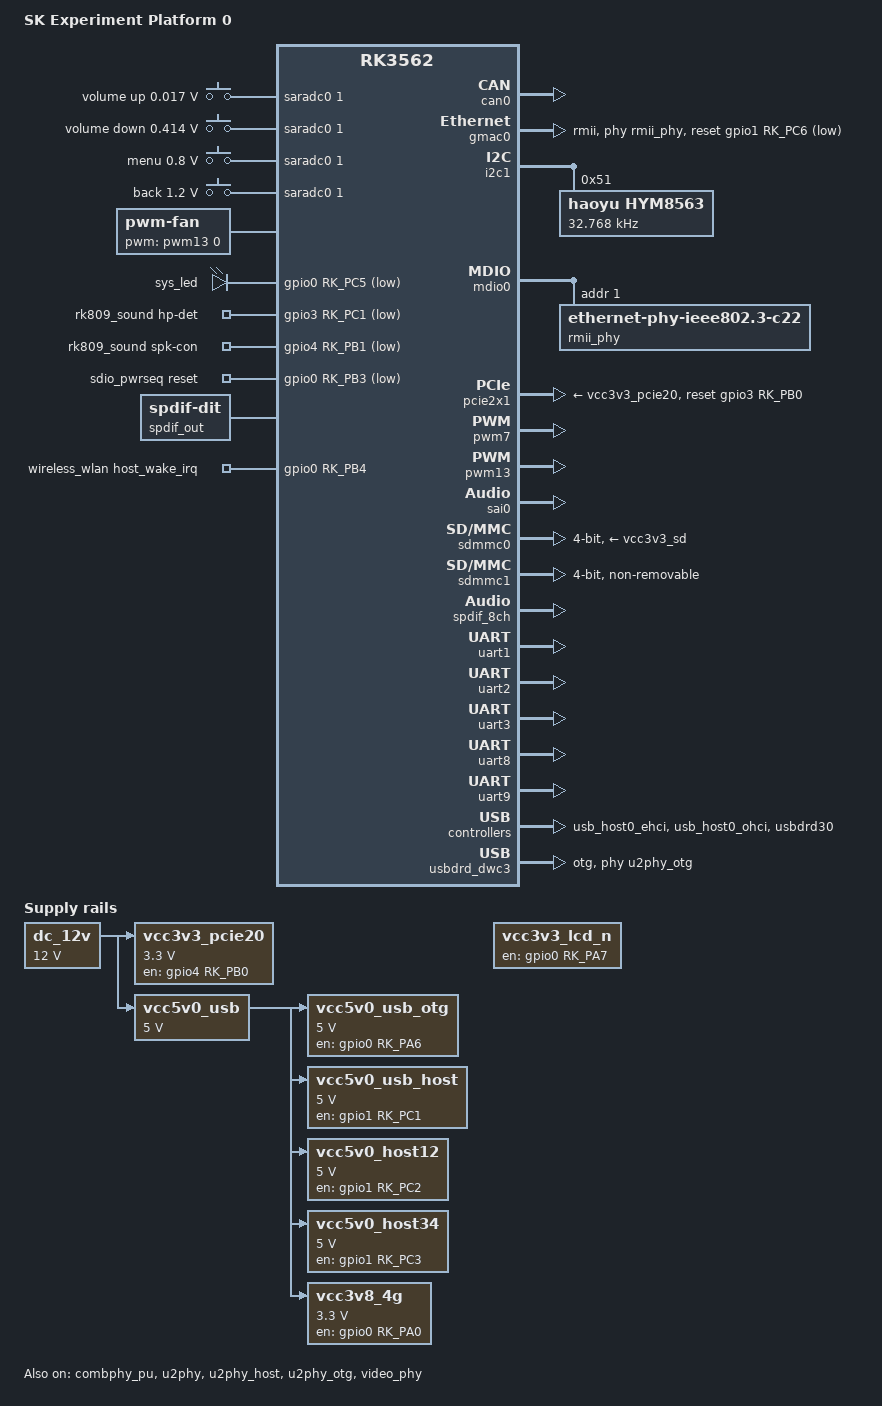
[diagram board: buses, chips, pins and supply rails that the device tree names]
// SPDX-License-Identifier: (GPL-2.0+ OR MIT)
/*
* Copyright (c) 2025 Sergey Kharenko
* Copyright (c) 2021 Rockchip Electronics Co., Ltd.
*/

/dts-v1/;

#include "rk3562.dtsi"
#include "rk3562-linux.dtsi"
#include "rk3562-rk809.dtsi"

/ {
	model = "SK Experiment Platform 0";
	compatible = "sk,epf0", "rockchip,rk3562";

	adc_keys: adc-keys {
		compatible = "adc-keys";
		io-channels = <&saradc0 1>;
		io-channel-names = "buttons";
		keyup-threshold-microvolt = <1800000>;
		poll-interval = <100>;

		vol-up-key {
			linux,code = <KEY_VOLUMEUP>;
			label = "volume up";
			press-threshold-microvolt = <17000>;
		};

		vol-down-key {
			linux,code = <KEY_VOLUMEDOWN>;
			label = "volume down";
			press-threshold-microvolt = <414000>;
		};

		menu-key {
			linux,code = <KEY_MENU>;
			label = "menu";
			press-threshold-microvolt = <800000>;
		};

		back-key {
			linux,code = <KEY_BACK>;
			label = "back";
			press-threshold-microvolt = <1200000>;
		};
	};

	dc_12v: dc-12v {
		compatible = "regulator-fixed";
		regulator-name = "dc_12v";
		regulator-always-on;
		regulator-boot-on;
		regulator-min-microvolt = <12000000>;
		regulator-max-microvolt = <12000000>;
	};

	fan: pwm-fan {
  		compatible = "pwm-fan";
  		#cooling-cells = <2>;
  		pwms = <&pwm13 0 50000 0>;
  		cooling-levels = <0 50 100 150 200 255>;
  		rockchip,temp-trips = < 50000 1
                                55000 2
                                60000 3
                                65000 4
                                70000 5>;
    };

 	gpio_leds: gpio-leds {
		compatible = "gpio-leds";
  	  	sys_led: sys-led {
   	   		gpios = <&gpio0 RK_PC5 GPIO_ACTIVE_LOW>;
			linux,default-trigger = "heartbeat";
       		pinctrl-names = "default";
       		pinctrl-0 = <&sys_led_pin>;
  		};
	};

	rk809_sound: rk809-sound {
		compatible = "rockchip,multicodecs-card";
		rockchip,card-name = "rockchip-rk809";
		hp-det-gpio = <&gpio3 RK_PC1 GPIO_ACTIVE_LOW>;
		spk-con-gpio = <&gpio4 RK_PB1 GPIO_ACTIVE_LOW>;
		rockchip,format = "i2s";
		rockchip,mclk-fs = <256>;
		rockchip,cpu = <&sai0>;
		rockchip,codec = <&rk809_codec>;
		pinctrl-names = "default";
		pinctrl-0 = <&hp_det &spk_con>;
	};

	sdio_pwrseq: sdio-pwrseq {
		compatible = "mmc-pwrseq-simple";
		pinctrl-names = "default";
		pinctrl-0 = <&wifi_poweren_gpio>;
        reset-gpios = <&gpio0 RK_PB3 GPIO_ACTIVE_LOW>;
		post-power-on-delay-ms = <200>;
	};

	spdif_out: spdif-out {
		compatible = "linux,spdif-dit";
		#sound-dai-cells = <0>;
	};

	spdif_sound: spdif-sound {
		compatible = "simple-audio-card";
		simple-audio-card,name = "rk-spdif-sound";
		simple-audio-card,mclk-fs = <128>;
		simple-audio-card,cpu {
			sound-dai = <&spdif_8ch>;
		};
		simple-audio-card,codec {
			sound-dai = <&spdif_out>;
		};
	};

	vcc3v3_pcie20: vcc3v3-pcie20 {
		compatible = "regulator-fixed";
		regulator-name = "vcc3v3_pcie20";
		regulator-min-microvolt = <3300000>;
		regulator-max-microvolt = <3300000>;
		enable-active-high;
		regulator-always-on;
        regulator-boot-on;
		gpios = <&gpio4 RK_PB0 GPIO_ACTIVE_HIGH>;
		startup-delay-us = <5000>;
		vin-supply = <&dc_12v>;
	};

	vcc5v0_usb: vcc5v0-usb {
		compatible = "regulator-fixed";
		regulator-name = "vcc5v0_usb";
		regulator-always-on;
		regulator-boot-on;
		regulator-min-microvolt = <5000000>;
		regulator-max-microvolt = <5000000>;
		vin-supply = <&dc_12v>;
	};

	vcc5v0_usb_otg: vcc5v0-usb-otg {         
        compatible = "regulator-fixed";
        regulator-name = "vcc5v0_usb_otg";
        regulator-min-microvolt = <5000000>;
        regulator-max-microvolt = <5000000>;
        enable-active-high;
        gpio = <&gpio0 RK_PA6 GPIO_ACTIVE_HIGH>;
        vin-supply = <&vcc5v0_usb>;
        pinctrl-names = "default";
        pinctrl-0 = <&usb_otg_pwren>;
    };  

    vcc5v0_usb_host: vcc5v0-usb-host {    
        compatible = "regulator-fixed";
        regulator-name = "vcc5v0_usb_host";
        regulator-boot-on;
        regulator-always-on;
        regulator-min-microvolt = <5000000>;
        regulator-max-microvolt = <5000000>;
        enable-active-high;
        gpio = <&gpio1 RK_PC1 GPIO_ACTIVE_HIGH>;
        vin-supply = <&vcc5v0_usb>;
        pinctrl-names = "default";
        pinctrl-0 = <&usb_host5_pwren>;
    };  
       
    vcc5v0_host12: vcc5v0-host12 {
        compatible = "regulator-fixed";
        regulator-name = "vcc5v0_host12";
        regulator-boot-on;
        regulator-always-on;
        regulator-min-microvolt = <5000000>;
        regulator-max-microvolt = <5000000>;
        enable-active-high;
        gpio = <&gpio1 RK_PC2 GPIO_ACTIVE_HIGH>;
        vin-supply = <&vcc5v0_usb>;
        pinctrl-names = "default";
        pinctrl-0 = <&usb_host12_pwren>;
    };  

    vcc5v0_host34: vcc5v0-host34 {
        compatible = "regulator-fixed";
        regulator-name = "vcc5v0_host34";
        regulator-boot-on;
        regulator-always-on;
        regulator-min-microvolt = <5000000>;
        regulator-max-microvolt = <5000000>;
        enable-active-high;
        gpio = <&gpio1 RK_PC3 GPIO_ACTIVE_HIGH>;
        vin-supply = <&vcc5v0_usb>;
        pinctrl-names = "default";
        pinctrl-0 = <&usb_host34_pwren>;
    };

    vcc3v8_4g: vcc3v8-4g {
        compatible = "regulator-fixed";
        regulator-name = "vcc3v8_4g";
        regulator-boot-on;
        regulator-always-on;
        regulator-min-microvolt = <3300000>;
        regulator-max-microvolt = <3300000>;
        enable-active-high;
        gpio = <&gpio0 RK_PA0 GPIO_ACTIVE_HIGH>;
        vin-supply = <&vcc5v0_usb>;
        pinctrl-names = "default";
        pinctrl-0 = <&usb_4g_pwren>;
    };

	vcc3v3_lcd_n: vcc3v3-lcd-n {
		compatible = "regulator-fixed";
		regulator-name = "vcc3v3_lcd_n";
		regulator-boot-on;
        enable-active-high;
		pinctrl-names = "default";
		pinctrl-0 = <&lcd_pwren>;
        gpio = <&gpio0 RK_PA7 GPIO_ACTIVE_HIGH>;
		regulator-state-mem {
			regulator-off-in-suspend;
		};
	};

	wireless_wlan: wireless-wlan {
		compatible = "wlan-platdata";
		rockchip,grf = <&sys_grf>;
		clocks = <&rk809 1>;
		clock-names = "clk_wifi";
		wifi_chip_type = "rtl8723du";
		pinctrl-names = "default";
		pinctrl-0 = <&wifi_host_wake_irq>;
		WIFI,host_wake_irq = <&gpio0 RK_PB4 GPIO_ACTIVE_HIGH>;
	};
};

&can0 {
    assigned-clocks = <&cru CLK_CAN0>;
    assigned-clock-rates = <200000000>;
    pinctrl-names = "default";
    pinctrl-0 = <&can0m2_pins>;
    status = "okay";
};

&combphy_pu {
	status = "okay";
};

&gmac0 {
	/* Use rgmii-rxid mode to disable rx delay inside Soc */
	phy-mode = "rmii";
	clock_in_out = "output";

	snps,reset-gpio = <&gpio1 RK_PC6 GPIO_ACTIVE_LOW>;
	snps,reset-active-low;
	/* Reset time is 20ms, 100ms for rtl8211f */
	snps,reset-delays-us = <0 20000 100000>;

	tx_delay = <0x42>;
	/* rx_delay = <0x3f>; */

	pinctrl-names = "default";
    pinctrl-0 = <
        &rgmiim1_miim
        &rgmiim1_tx_bus2
        &rgmiim1_rx_bus2
        &rgmiim1_clk
        &rgmiim1_rx_er
        &ethm1_pins>;
	phy-handle = <&rmii_phy>;
	status = "okay";
};

&i2c1 {
 	status = "okay";

 	hym8563: hym8563@51 {
  		compatible = "haoyu,hym8563";
  		reg = <0x51>;
  		#clock-cells = <0>;
  		clock-frequency = <32768>;
  		clock-output-names = "hym8563";
  		wakeup-source;
 	};
};

touch_i2c: &i2c2 {
	status = "disabled";
};

&i2c5 {
	status = "disabled";

	mpu6500_acc: mpu_acc@68 {
		compatible = "mpu6500_acc";
		reg = <0x68>;
		irq-gpio = <&gpio1 RK_PC7 IRQ_TYPE_EDGE_RISING>;
		irq_enable = <0>;
		poll_delay_ms = <30>;
		type = <SENSOR_TYPE_ACCEL>;
		layout = <3>;
	};

	mpu6500_gyro: mpu_gyro@68 {
		compatible = "mpu6500_gyro";
		reg = <0x68>;
		poll_delay_ms = <30>;
		type = <SENSOR_TYPE_GYROSCOPE>;
		layout = <3>;
	};
};

&mdio0 {
	rmii_phy: phy@1 {
		compatible = "ethernet-phy-ieee802.3-c22";
		reg = <0x1>;
		clocks = <&cru CLK_GMAC_ETH_OUT2IO>;
		assigned-clocks = <&cru CLK_GMAC_ETH_OUT2IO>;
		assigned-clock-rates = <25000000>;
	};
};

&pcie2x1 {
	reset-gpios = <&gpio3 RK_PB0 GPIO_ACTIVE_HIGH>;
	vpcie3v3-supply = <&vcc3v3_pcie20>;
	status = "okay";
};

&pinctrl {
	headphone {
		hp_det: hp-det {
			rockchip,pins = <3 RK_PC1 RK_FUNC_GPIO &pcfg_pull_none>;
		};
	};

	lcd {
		/omit-if-no-ref/
		lcd_rst: lcd-rst {
			rockchip,pins = <0 RK_PB0 RK_FUNC_GPIO &pcfg_pull_none>;
		};

		lcd_pwren: lcd-pwren {
			rockchip,pins = <0 RK_PA7 RK_FUNC_GPIO &pcfg_pull_none>;
		};
	};

	led {
        sys_led_pin: sys-led-pin {
            rockchip,pins = <0 RK_PC5 RK_FUNC_GPIO &pcfg_pull_up>;
        };  
    }; 

	speaker {
		spk_con: spk-con{
			rockchip,pins = <4 RK_PB1 RK_FUNC_GPIO &pcfg_pull_none>;
		};
	};

	touch {
        /omit-if-no-ref/
		touch_gpio: touch-gpio {
			rockchip,pins =
				<0 RK_PC2 RK_FUNC_GPIO &pcfg_pull_up>,
				<0 RK_PC3 RK_FUNC_GPIO &pcfg_pull_none>;
		};
	};

	usb {
		usb_host5_pwren: usb-host5-pwren {
			rockchip,pins = <1 RK_PC1 RK_FUNC_GPIO &pcfg_pull_none>;
		};

		usb_otg_pwren: usb-otg-pwren {
			rockchip,pins = <0 RK_PA6 RK_FUNC_GPIO &pcfg_pull_none>;
		};
		
        usb_host12_pwren: usb-host12-pwren {
            rockchip,pins = <1 RK_PC2 RK_FUNC_GPIO &pcfg_pull_none>;
        };

        usb_host34_pwren: usb-host34-pwren {
            rockchip,pins = <1 RK_PC3 RK_FUNC_GPIO &pcfg_pull_none>;
        };

        usb_4g_pwren: usb-4g-pwren {
            rockchip,pins = <0 RK_PA0 RK_FUNC_GPIO &pcfg_pull_none>;
        };
	};

	wireless-wlan {
		wifi_host_wake_irq: wifi-host-wake-irq {
			rockchip,pins = <0 RK_PB4 RK_FUNC_GPIO &pcfg_pull_down>;
		};

        wifi_poweren_gpio: wifi-poweren-gpio {
			rockchip,pins = <0 RK_PB3 RK_FUNC_GPIO &pcfg_pull_up>;
		};
	};

	wireless-bluetooth {
		bt_gpios: bt-gpios {
			rockchip,pins =
				<0 RK_PC5 RK_FUNC_GPIO &pcfg_pull_none>,
				<0 RK_PC6 RK_FUNC_GPIO &pcfg_pull_none>,
				<0 RK_PC7 RK_FUNC_GPIO &pcfg_pull_none>;
		};
	};
};

lcd_pwm: &pwm1 {
	status = "disabled";
};

&pwm7 {
	status = "okay";
	compatible = "rockchip,remotectl-pwm";
	pinctrl-names = "default";
	pinctrl-0 = <&pwm7m0_pins>;
	assigned-clocks = <&cru CLK_PMU1_PWM0>;
	assigned-clock-rates = <24000000>;
	remote_pwm_id = <3>;
	handle_cpu_id = <1>;
	remote_support_psci = <1>;
};

&pwm13 {
    status = "okay";
	pinctrl-names = "default";
    pinctrl-0 = <&pwm13m0_pins>;
};

&sai0 {
	status = "okay";
	pinctrl-names = "default";
	pinctrl-0 = <
        &i2s0m0_lrck
		&i2s0m0_sclk
		&i2s0m0_sdi0
		&i2s0m0_sdo0>;
};

&sdmmc0 {
    status = "okay";
	no-sdio;
	no-mmc;
	bus-width = <4>;
	cap-mmc-highspeed;
	cap-sd-highspeed;
	disable-wp;
	sd-uhs-sdr104;
	vmmc-supply = <&vcc3v3_sd>;
	vqmmc-supply = <&vccio_sd>;
	pinctrl-names = "default";
	pinctrl-0 = <&sdmmc0_bus4 &sdmmc0_clk &sdmmc0_cmd &sdmmc0_det>;
};

&sdmmc1 {
    status = "okay";
	no-sd;
	no-mmc;
	bus-width = <4>;
	disable-wp;
	cap-sd-highspeed;
	cap-sdio-irq;
	keep-power-in-suspend;
	mmc-pwrseq = <&sdio_pwrseq>;
	non-removable;
	pinctrl-names = "default";
	pinctrl-0 = <&sdmmc1_bus4 &sdmmc1_cmd &sdmmc1_clk>;
	sd-uhs-sdr104;
};

&spdif_8ch {
	pinctrl-0 = <&spdifm1_pins>;
	status = "okay";
};

&u2phy {
	status = "okay";
};

&u2phy_host {
	status = "okay";
	phy-supply = <&vcc5v0_usb_host>;
};

&u2phy_otg {
	status = "okay";
	vbus-supply = <&vcc5v0_usb_otg>;
};

&uart1 {
	status = "okay";
	pinctrl-names = "default";
	pinctrl-0 = <&uart1m1_xfer &uart1m0_ctsn &uart1m0_rtsn>;
    uart-has-rtscts;

	bluetooth {
		compatible = "bluetooth-platdata";
		clocks = <&rk809 1>;
		clock-names = "ext_clock";
		pinctrl-names = "default";
		pinctrl-0 = <&bt_gpios>;
		shutdown-gpios = <&gpio0 RK_PC5 GPIO_ACTIVE_HIGH>;
		device-wakeup-gpios = <&gpio0 RK_PC7 GPIO_ACTIVE_HIGH>;
        interrupt-parent = <&gpio0>;
		interrupts = <RK_PC6 IRQ_TYPE_EDGE_FALLING>;
	};
};

&uart2 {
    status = "okay";
    pinctrl-names = "default";
    pinctrl-0 = <&uart2m1_xfer>;
};

&uart3 {
    status = "okay";
    pinctrl-names = "default";
    pinctrl-0 = <&uart3m1_xfer>;
};

&uart8 {
    status = "okay";
    pinctrl-names = "default";
    pinctrl-0 = <&uart8m0_xfer>;
};

&uart9 {
    status = "okay";
    pinctrl-names = "default";
    pinctrl-0 = <&uart9m1_xfer>;
};

&usb_host0_ehci {
	status = "okay";
};

&usb_host0_ohci {
	status = "okay";
};

&usbdrd30 {
	status = "okay";
};

&usbdrd_dwc3 {
	status = "okay";
	dr_mode = "otg";
	extcon = <&u2phy>;
	maximum-speed = "high-speed";
	phys = <&u2phy_otg>;
	phy-names = "usb2-phy";
	snps,dis_u2_susphy_quirk;
	snps,usb2-lpm-disable;
};

&vcc3v3_sys {
    vin-supply = <&dc_12v>;
};

&vcc5v0_sys {
    vin-supply = <&dc_12v>;
};

&video_phy {
	status = "okay";
};
